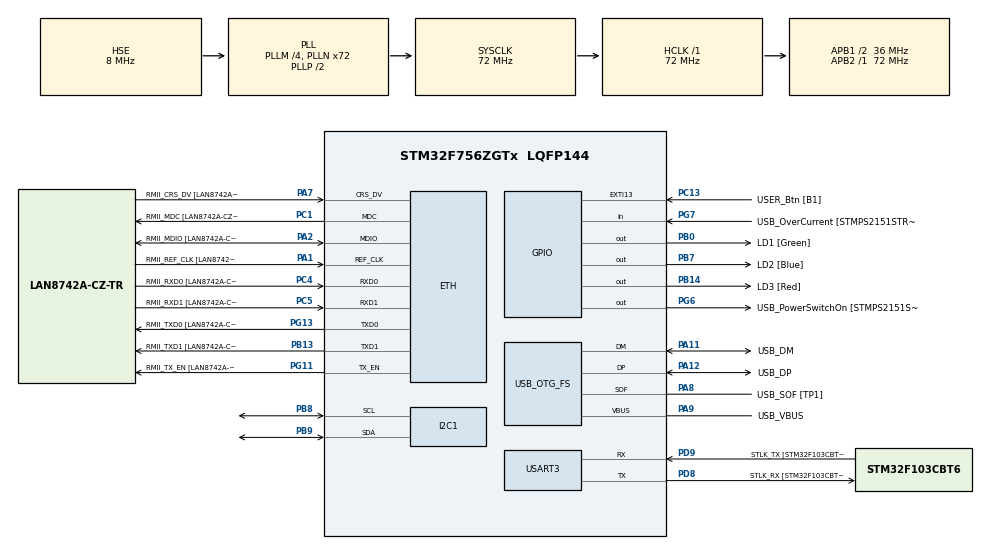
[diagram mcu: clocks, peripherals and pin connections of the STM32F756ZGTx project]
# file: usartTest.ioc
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CORTEX_M7.default_mode_Activation=1
ETH.MediaInterface=HAL_ETH_RMII_MODE
ETH.PHY_Name=LAN8742A_PHY_ADDRESS
ETH.PHY_Value=0
ETH.PhyAddress=0
I2C1.Timing=0x00808CD2
Mcu.Family=STM32F7
Mcu.Name=STM32F756ZGTx
Mcu.Package=LQFP144
NVIC.PriorityGroup=NVIC_PRIORITYGROUP_4
NVIC.USART3_IRQn=true\:0\:0\:false\:false\:true\:true\:true\:true
PA1.GPIO_Label=RMII_REF_CLK [LAN8742A-CZ-TR_REFCLK0]
PA1.Mode=RMII
PA1.Signal=ETH_REF_CLK
PA10.GPIO_Label=USB_ID
PA10.Signal=USB_OTG_FS_ID
PA11.GPIO_Label=USB_DM
PA11.Mode=Device_Only
PA11.Signal=USB_OTG_FS_DM
PA12.GPIO_Label=USB_DP
PA12.Mode=Device_Only
PA12.Signal=USB_OTG_FS_DP
PA13.GPIO_Label=TMS
PA13.Mode=Serial_Wire
PA13.Signal=SYS_JTMS-SWDIO
PA14.GPIO_Label=TCK
PA14.Mode=Serial_Wire
PA14.Signal=SYS_JTCK-SWCLK
PA2.GPIO_Label=RMII_MDIO [LAN8742A-CZ-TR_MDIO]
PA2.Mode=RMII
PA2.Signal=ETH_MDIO
PA7.GPIO_Label=RMII_CRS_DV [LAN8742A-CZ-TR_CRS_DV]
PA7.Mode=RMII
PA7.Signal=ETH_CRS_DV
PA8.GPIO_Label=USB_SOF [TP1]
PA8.Mode=Activate_SOF_FS
PA8.Signal=USB_OTG_FS_SOF
PA9.GPIO_Label=USB_VBUS
PA9.Mode=Activate_VBUS
PA9.Signal=USB_OTG_FS_VBUS
PB0.GPIO_Label=LD1 [Green]
PB0.Signal=GPIO_Output
PB13.GPIO_Label=RMII_TXD1 [LAN8742A-CZ-TR_TXD1]
PB13.Mode=RMII
PB13.Signal=ETH_TXD1
PB14.GPIO_Label=LD3 [Red]
PB14.Signal=GPIO_Output
PB3.GPIO_Label=SW0
PB3.Signal=SYS_JTDO-SWO
PB7.GPIO_Label=LD2 [Blue]
PB7.Signal=GPIO_Output
PB8.Mode=I2C
PB8.Signal=I2C1_SCL
PB9.Mode=I2C
PB9.Signal=I2C1_SDA
PC1.GPIO_Label=RMII_MDC [LAN8742A-CZ-TR_MDC]
PC1.Mode=RMII
PC1.Signal=ETH_MDC
PC13.GPIO_Label=USER_Btn [B1]
PC13.Signal=GPXTI13
PC14/OSC32_IN.Mode=LSE-External-Oscillator
PC14/OSC32_IN.Signal=RCC_OSC32_IN
PC15/OSC32_OUT.Mode=LSE-External-Oscillator
PC15/OSC32_OUT.Signal=RCC_OSC32_OUT
PC4.GPIO_Label=RMII_RXD0 [LAN8742A-CZ-TR_RXD0]
PC4.Mode=RMII
PC4.Signal=ETH_RXD0
PC5.GPIO_Label=RMII_RXD1 [LAN8742A-CZ-TR_RXD1]
PC5.Mode=RMII
PC5.Signal=ETH_RXD1
PD8.GPIO_Label=STLK_RX [STM32F103CBT6_PA3]
PD8.Mode=Asynchronous
PD8.Signal=USART3_TX
PD9.GPIO_Label=STLK_TX [STM32F103CBT6_PA2]
PD9.Mode=Asynchronous
PD9.Signal=USART3_RX
PG11.GPIO_Label=RMII_TX_EN [LAN8742A-CZ-TR_TXEN]
PG11.Mode=RMII
PG11.Signal=ETH_TX_EN
PG13.GPIO_Label=RMII_TXD0 [LAN8742A-CZ-TR_TXD0]
PG13.Mode=RMII
PG13.Signal=ETH_TXD0
PG6.GPIO_Label=USB_PowerSwitchOn [STMPS2151STR_EN]
PG6.Signal=GPIO_Output
PG7.GPIO_Label=USB_OverCurrent [STMPS2151STR_FAULT]
PG7.Signal=GPIO_Input
PH0/OSC_IN.GPIO_Label=MCO [STM32F103CBT6_PA8]
PH0/OSC_IN.Mode=HSE-External-Clock-Source
PH0/OSC_IN.Signal=RCC_OSC_IN
PH1/OSC_OUT.Mode=HSE-External-Clock-Source
PH1/OSC_OUT.Signal=RCC_OSC_OUT
ProjectManager.HeapSize=0x200
ProjectManager.StackSize=0x400
ProjectManager.TargetToolchain=CMake
RCC.48MHZClocksFreq_Value=24000000
RCC.AHBFreq_Value=72000000
RCC.APB1CLKDivider=RCC_HCLK_DIV2
RCC.APB1Freq_Value=36000000
RCC.APB1TimFreq_Value=72000000
RCC.APB2Freq_Value=72000000
RCC.APB2TimFreq_Value=72000000
RCC.CortexFreq_Value=72000000
RCC.HCLKFreq_Value=72000000
RCC.HSE_VALUE=8000000
RCC.HSI_VALUE=16000000
RCC.PLLM=4
RCC.PLLMUL=RCC_PLL_MUL9
RCC.PLLN=72
RCC.PLLQ=3
RCC.PRESCALERUSB=RCC_USBCLKSOURCE_PLL_DIV1_5
RCC.SYSCLKFreq_VALUE=72000000
RCC.SYSCLKSource=RCC_SYSCLKSOURCE_PLLCLK
RCC.SYSCLKSourceVirtual=RCC_SYSCLKSOURCE_PLLCLK
RCC.USBFreq_Value=48000000
RCC.VCOOutputFreq_Value=144000000
USART3.VirtualMode-Asynchronous=VM_ASYNC
USB_OTG_FS.VirtualMode=Device_Only
board=NUCLEO-F756ZG

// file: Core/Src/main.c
/* USER CODE BEGIN Header */
/**
  ******************************************************************************
  * @file           : main.c
  * @brief          : Main program body
  ******************************************************************************
  * @attention
  *
  * Copyright (c) 2026 STMicroelectronics.
  * All rights reserved.
  *
  * This software is licensed under terms that can be found in the LICENSE file
  * in the root directory of this software component.
  * If no LICENSE file comes with this software, it is provided AS-IS.
  *
  ******************************************************************************
  */
/* USER CODE END Header */
#include "main.h"
#include "eth.h"
#include "i2c.h"
#include "usart.h"
#include "usb_otg.h"
#include "gpio.h"

/* USER CODE BEGIN Includes */
#include <string.h>
#include <stdbool.h>
/* USER CODE END Includes */

/* USER CODE BEGIN PD */
#define RX_BUFFER_SIZE 32
/* USER CODE END PD */

/* USER CODE BEGIN PV */
uint8_t rxByte; // Variable to hold the received byte
char rxCommand[RX_BUFFER_SIZE]; // Buffer to hold the received command
int rxLength = 0; // Length of the received command
bool commandReady = false; // Flag to indicate if a complete command is ready
bool rxDiscard = false; // Flag to indicate if the current command should be discarded
/* USER CODE END PV */

void SystemClock_Config(void);
static void MPU_Config(void);
/* USER CODE BEGIN PFP */
void HAL_UART_RxCpltCallback(UART_HandleTypeDef *huart)
{
  if(huart->Instance == USART3)
  {
    char receivedChar = (char)rxByte; // Convert the received byte to a character
    if(receivedChar == ';') // Check for command termination
    {
      rxCommand[rxLength] = '\0'; // Add \0 so it will be compatible with fucntions that expect C string
      commandReady = true; // Set the flag to indicate a complete command is ready
      rxLength = 0; // Reset the length for the next command
      rxDiscard = false; // Reset discard flag
    }
    else if(receivedChar == '\r' || receivedChar == '\n') // Ignore carriage return and newline characters
    {

    }
    else if(rxLength < sizeof(rxCommand) - 1) // Check if there's space in the buffer
    {
      if(!rxDiscard)
      {
        rxCommand[rxLength] = receivedChar; // Store the character
        rxLength++; // Increment index of array iwth our command
      }
    }
    else
    {
      rxDiscard = true; // If buffer is full, discard next bytes
    }
    HAL_UART_Receive_IT(&huart3, &rxByte, 1); // Continue receiving the next byte
  }
}

/* USER CODE END PFP */

int main(void)
{

  /* MPU Configuration--------------------------------------------------------*/
  MPU_Config();

  /* MCU Configuration--------------------------------------------------------*/

  /* Reset of all peripherals, Initializes the Flash interface and the Systick. */
  HAL_Init();

  /* Configure the system clock */
  SystemClock_Config();

  /* Initialize all configured peripherals */
  MX_GPIO_Init();
  MX_ETH_Init();
  MX_I2C1_Init();
  MX_USART3_UART_Init();
  MX_USB_OTG_FS_PCD_Init();
  /* USER CODE BEGIN 2 */
  HAL_UART_Receive_IT(&huart3, &rxByte, 1); // Start receiving the first byte
  /* USER CODE END 2 */

  /* Infinite loop */
  while (1)
  {
    if(commandReady)
    {
      // Process the command stored in rxCommand
      // For example, you can print it or execute some action based on the command
      HAL_UART_Transmit_IT(&huart3, (uint8_t*)rxCommand, strlen(rxCommand)); // Echo the command back

      // Reset the command ready flag for the next command
      commandReady = false;
    }
  }
}

void SystemClock_Config(void)
{
  RCC_OscInitTypeDef RCC_OscInitStruct = {0};
  RCC_ClkInitTypeDef RCC_ClkInitStruct = {0};

  /** Configure LSE Drive Capability
  */
  HAL_PWR_EnableBkUpAccess();

  /** Configure the main internal regulator output voltage
  */
  __HAL_RCC_PWR_CLK_ENABLE();
  __HAL_PWR_VOLTAGESCALING_CONFIG(PWR_REGULATOR_VOLTAGE_SCALE3);

  /** Initializes the RCC Oscillators according to the specified parameters
  * in the RCC_OscInitTypeDef structure.
  */
  RCC_OscInitStruct.OscillatorType = RCC_OSCILLATORTYPE_HSE;
  RCC_OscInitStruct.HSEState = RCC_HSE_BYPASS;
  RCC_OscInitStruct.PLL.PLLState = RCC_PLL_ON;
  RCC_OscInitStruct.PLL.PLLSource = RCC_PLLSOURCE_HSE;
  RCC_OscInitStruct.PLL.PLLM = 4;
  RCC_OscInitStruct.PLL.PLLN = 72;
  RCC_OscInitStruct.PLL.PLLP = RCC_PLLP_DIV2;
  RCC_OscInitStruct.PLL.PLLQ = 3;
  if (HAL_RCC_OscConfig(&RCC_OscInitStruct) != HAL_OK)
  {
    Error_Handler();
  }

  /** Initializes the CPU, AHB and APB buses clocks
  */
  RCC_ClkInitStruct.ClockType = RCC_CLOCKTYPE_HCLK|RCC_CLOCKTYPE_SYSCLK
                              |RCC_CLOCKTYPE_PCLK1|RCC_CLOCKTYPE_PCLK2;
  RCC_ClkInitStruct.SYSCLKSource = RCC_SYSCLKSOURCE_PLLCLK;
  RCC_ClkInitStruct.AHBCLKDivider = RCC_SYSCLK_DIV1;
  RCC_ClkInitStruct.APB1CLKDivider = RCC_HCLK_DIV2;
  RCC_ClkInitStruct.APB2CLKDivider = RCC_HCLK_DIV1;

  if (HAL_RCC_ClockConfig(&RCC_ClkInitStruct, FLASH_LATENCY_2) != HAL_OK)
  {
    Error_Handler();
  }
}

 /* MPU Configuration */

void MPU_Config(void)
{
  MPU_Region_InitTypeDef MPU_InitStruct = {0};

  /* Disables the MPU */
  HAL_MPU_Disable();

  /** Initializes and configures the Region and the memory to be protected
  */
  MPU_InitStruct.Enable = MPU_REGION_ENABLE;
  MPU_InitStruct.Number = MPU_REGION_NUMBER0;
  MPU_InitStruct.BaseAddress = 0x0;
  MPU_InitStruct.Size = MPU_REGION_SIZE_4GB;
  MPU_InitStruct.SubRegionDisable = 0x87;
  MPU_InitStruct.TypeExtField = MPU_TEX_LEVEL0;
  MPU_InitStruct.AccessPermission = MPU_REGION_NO_ACCESS;
  MPU_InitStruct.DisableExec = MPU_INSTRUCTION_ACCESS_DISABLE;
  MPU_InitStruct.IsShareable = MPU_ACCESS_SHAREABLE;
  MPU_InitStruct.IsCacheable = MPU_ACCESS_NOT_CACHEABLE;
  MPU_InitStruct.IsBufferable = MPU_ACCESS_NOT_BUFFERABLE;

  HAL_MPU_ConfigRegion(&MPU_InitStruct);
  /* Enables the MPU */
  HAL_MPU_Enable(MPU_PRIVILEGED_DEFAULT);

}

void Error_Handler(void)
{
  __disable_irq();
  while (1)
  {
  }
}
